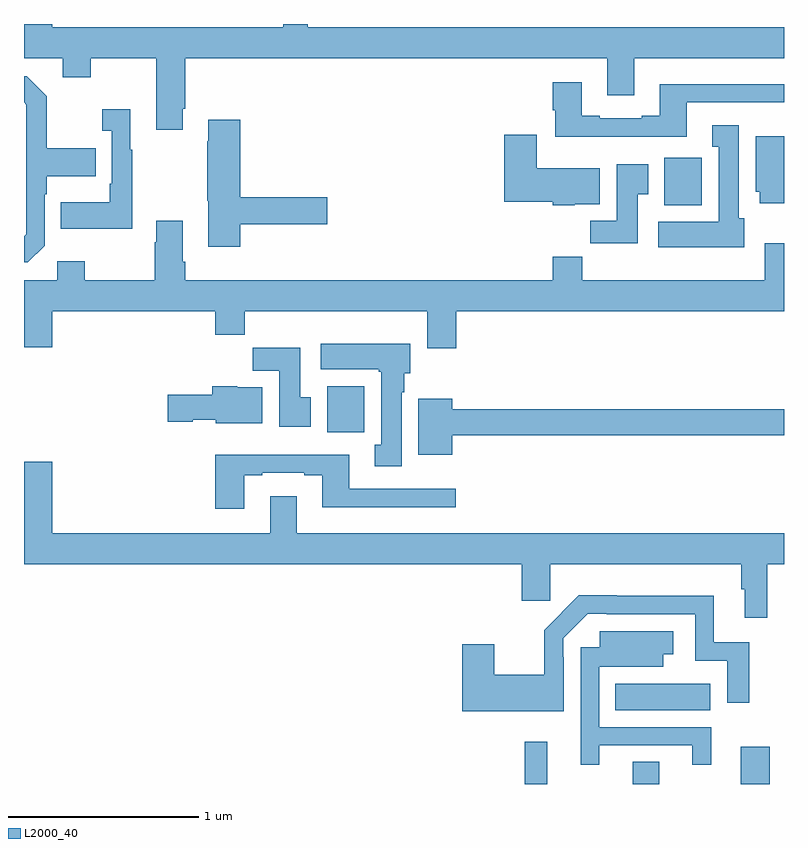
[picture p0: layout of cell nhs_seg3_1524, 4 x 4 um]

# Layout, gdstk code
import gdstk
lib = gdstk.Library(unit=1e-6, precision=1e-09)
def R(c, l, rs):  # rectangles x0, y0, x1, y1
    for r in rs: c.add(gdstk.rectangle(r[:2], r[2:], *l))
def P(c, l, *ps):  # polygons
    for p in ps: c.add(gdstk.Polygon(p, *l))
L2000_40 = (2000, 40)

nhs_seg3_1524 = lib.new_cell('nhs_seg3_1524')
R(nhs_seg3_1524, L2000_40, [(191.635,726.4,191.753,726.622), (192.203,726.4,192.343,726.518), (192.773,726.4,192.926,726.595), (192.112,726.788,192.613,726.928), (190.595,728.252,190.792,728.494), (192.371,729.446,192.567,729.697)])
P(nhs_seg3_1524, L2000_40, [(189.835,729.955),(189.848,729.955),(189.848,730.22),(192.071,730.22),(192.071,730.026),(192.211,730.026),(192.211,730.22),(193,730.22),(193,730.384),(190.493,730.384),(190.493,730.4),(190.365,730.4),(190.365,730.384),(189.148,730.384),(189.148,730.4),(189,730.4),(189,730.22),(189.203,730.22),(189.203,730.121),(189.351,730.121),(189.351,730.22),(189.695,730.22),(189.695,729.843),(189.835,729.843)],
  [(189.108,729.234),(189.108,729.503),(189.121,729.503),(189.121,729.599),(189.377,729.599),(189.377,729.747),(189.121,729.747),(189.121,730.019),(189.015,730.125),(189,730.125),(189,729.987),(189.012,729.975),(189.012,729.294),(189,729.282),(189,729.147),(189.021,729.147)],
  [(192.487,729.987),(193,729.987),(193,730.084),(192.347,730.084),(192.347,729.916),(192.251,729.916),(192.251,729.903),(192.031,729.903),(192.031,729.916),(191.935,729.916),(191.935,730.093),(191.783,730.093),(191.783,729.945),(191.795,729.945),(191.795,729.806),(192.487,729.806)],
  [(189.571,729.739),(189.559,729.739),(189.559,729.952),(189.411,729.952),(189.411,729.839),(189.462,729.839),(189.462,729.559),(189.45,729.559),(189.45,729.463),(189.193,729.463),(189.193,729.323),(189.571,729.323)],
  [(190.139,729.346),(190.597,729.346),(190.597,729.488),(190.139,729.488),(190.139,729.895),(189.971,729.895),(189.971,729.782),(189.964,729.782),(189.964,729.471),(189.971,729.471),(189.971,729.228),(190.139,729.228)],
  [(192.79,729.378),(192.763,729.378),(192.763,729.868),(192.623,729.868),(192.623,729.755),(192.656,729.755),(192.656,729.358),(192.339,729.358),(192.339,729.224),(192.79,729.224)],
  [(191.898,729.452),(192.031,729.452),(192.031,729.64),(191.698,729.64),(191.698,729.817),(191.528,729.817),(191.528,729.464),(191.784,729.464),(191.784,729.446),(191.898,729.446)],
  [(193,729.808),(192.851,729.808),(192.851,729.516),(192.872,729.516),(192.872,729.456),(193,729.456)],
  [(192.229,729.505),(192.286,729.505),(192.286,729.661),(192.119,729.661),(192.119,729.364),(191.98,729.364),(191.98,729.246),(192.229,729.246)],
  [(191.276,728.888),(193,728.888),(193,729.247),(192.899,729.247),(192.899,729.052),(191.939,729.052),(191.939,729.176),(191.783,729.176),(191.783,729.052),(189.848,729.052),(189.848,729.148),(189.835,729.148),(189.835,729.364),(189.695,729.364),(189.695,729.251),(189.688,729.251),(189.688,729.052),(189.321,729.052),(189.321,729.151),(189.174,729.151),(189.174,729.052),(189,729.052),(189,728.7),(189.148,728.7),(189.148,728.888),(190.007,728.888),(190.007,728.764),(190.163,728.764),(190.163,728.888),(191.123,728.888),(191.123,728.694),(191.276,728.694)],
  [(190.987,728.462),(191.002,728.462),(191.002,728.562),(191.032,728.562),(191.032,728.716),(190.563,728.716),(190.563,728.582),(190.867,728.582),(190.867,728.569),(190.88,728.569),(190.88,728.186),(190.847,728.186),(190.847,728.073),(190.987,728.073)],
  [(190.51,728.436),(190.453,728.436),(190.453,728.695),(190.204,728.695),(190.204,728.576),(190.343,728.576),(190.343,728.28),(190.51,728.28)],
  [(190.255,728.488),(190.122,728.488),(190.122,728.494),(189.992,728.494),(189.992,728.448),(189.756,728.448),(189.756,728.306),(189.888,728.306),(189.888,728.318),(190.008,728.318),(190.008,728.3),(190.255,728.3)],
  [(191.254,728.236),(193,728.236),(193,728.372),(191.254,728.372),(191.254,728.428),(191.075,728.428),(191.075,728.132),(191.254,728.132)],
  [(190.159,728.025),(190.255,728.025),(190.255,728.037),(190.475,728.037),(190.475,728.025),(190.571,728.025),(190.571,727.856),(191.272,727.856),(191.272,727.953),(190.711,727.953),(190.711,728.134),(190.007,728.134),(190.007,727.848),(190.159,727.848)],
  [(192.911,727.556),(193,727.556),(193,727.72),(190.435,727.72),(190.435,727.915),(190.295,727.915),(190.295,727.72),(189.148,727.72),(189.148,728.095),(189,728.095),(189,727.556),(191.621,727.556),(191.621,727.365),(191.771,727.365),(191.771,727.556),(192.775,727.556),(192.775,727.424),(192.794,727.424),(192.794,727.275),(192.911,727.275)],
  [(191.841,727.067),(191.838,727.067),(191.838,727.167),(191.967,727.296),(192.067,727.296),(192.067,727.293),(192.534,727.293),(192.534,727.05),(192.702,727.05),(192.702,726.828),(192.818,726.828),(192.818,727.146),(192.631,727.146),(192.631,727.39),(192.119,727.39),(192.119,727.393),(191.92,727.393),(191.738,727.21),(191.738,726.976),(191.476,726.976),(191.476,727.135),(191.306,727.135),(191.306,726.782),(191.841,726.782)],
  [(192.028,726.603),(192.518,726.603),(192.518,726.501),(192.616,726.501),(192.616,726.699),(192.027,726.699),(192.027,727.016),(192.364,727.016),(192.364,727.082),(192.418,727.082),(192.418,727.204),(192.03,727.204),(192.03,727.119),(191.931,727.119),(191.931,726.501),(192.028,726.501)])

lib.write_gds('nhs_seg3_1524.gds')
